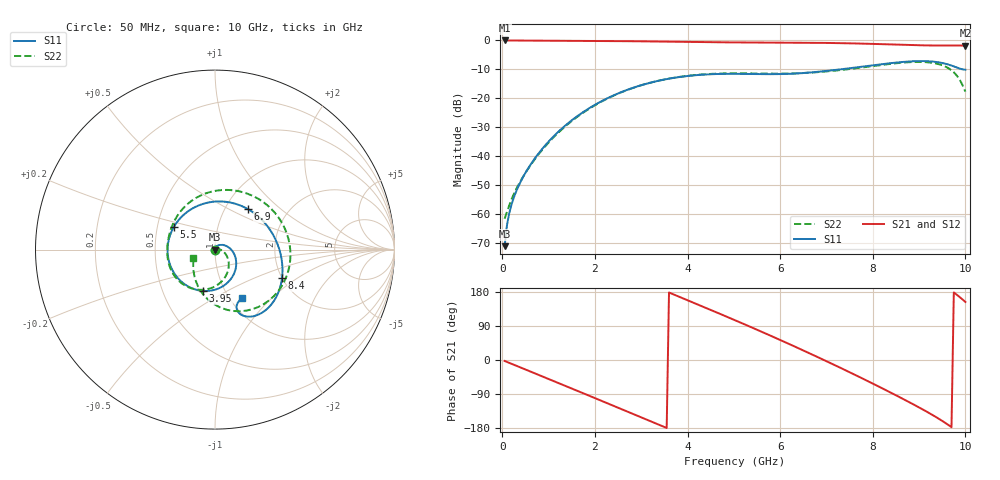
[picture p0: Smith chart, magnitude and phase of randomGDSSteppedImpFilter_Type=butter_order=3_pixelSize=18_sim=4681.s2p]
! freq	dB(S11)	phase(S11)	dB(S12)	phase(S12)
!  dB(S21)	phase(S21)	dB(S22)	phase(S22)
!S-par simulation data
#  GHz  S  DB  R 50
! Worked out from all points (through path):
!   200 points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, 50 MHz to 10 GHz, reference 50 ohm
!   highest |S21| = 0.00 dB at 50 MHz (marker M1); lowest = -1.9 dB at 10 GHz (marker M2)
!   group delay of S21, straight-line fit = 151 ps
!   lowest |S11| = -71.2 dB at 50 MHz (marker M3), VSWR 1.00, Z = 50 + j0.00622 ohm
!   |S11| at or under -10 dB: start of sweep to 7.304 GHz; 9.937 GHz to end of sweep
!   |S22| runs from -61.7 to -7.4 dB; largest |S21 - S12| = 0
!   S11 on the Smith chart (normalised r, x): 50 MHz: 1.00, +0.00; 3.95 GHz: 0.79, -0.39; 5.5 GHz: 0.61, +0.16; 6.9 GHz: 1.28, +0.63; 8.4 GHz: 2.00, -0.76; 10 GHz: 1.14, -0.69
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0.05  -71.21 13.1  -0.00 -2.5  -0.00 -2.5  -61.74 31.4
0.1  -64.05 43.0  -0.01 -5.1  -0.01 -5.1  -59.43 41.2
0.2  -56.73 71.5  -0.02 -10.1  -0.02 -10.1  -55.01 48.2
0.5  -45.83 88.6  -0.03 -25.1  -0.03 -25.1  -45.82 37.2
1.15  -32.52 60.6  -0.07 -57.6  -0.07 -57.6  -32.85 6.4
1.75  -24.76 24.6  -0.11 -87.9  -0.11 -87.9  -24.96 -18.5
2.5  -18.34 -20.4  -0.21 -125.9  -0.21 -125.9  -18.41 -50.3
3.4  -13.86 -73.5  -0.40 -171.7  -0.40 -171.7  -13.84 -89.1
3.95  -12.40 -106.3  -0.53 160.3  -0.53 160.3  -12.34 -112.2
4.55  -11.66 -143.4  -0.63 129.6  -0.63 129.6  -11.54 -136.3
5.05  -11.55 -176.5  -0.68 103.7  -0.68 103.7  -11.38 -155.2
5.5  -11.64 151.5  -0.70 79.9  -0.70 79.9  -11.45 -171.3
6.05  -11.62 110.4  -0.72 50.2  -0.72 50.2  -11.50 169.3
6.7  -11.02 63.5  -0.80 13.9  -0.80 13.9  -11.10 142.6
6.9  -10.72 50.5  -0.84 2.6  -0.84 2.6  -10.86 132.7
7.55  -9.52 14.3  -1.01 -35.2  -1.01 -35.2  -9.80 93.1
8.35  -7.92 -21.0  -1.36 -83.7  -1.36 -83.7  -8.17 32.7
8.4  -7.83 -23.1  -1.39 -86.8  -1.39 -86.8  -8.07 28.6
8.95  -7.16 -45.4  -1.66 -121.9  -1.66 -121.9  -7.43 -16.7
9.45  -7.64 -64.2  -1.74 -156.9  -1.74 -156.9  -8.33 -62.3
9.8  -9.28 -69.5  -1.71 173.6  -1.71 173.6  -11.89 -106.0
10  -10.13 -60.9  -1.86 153.1  -1.86 153.1  -17.73 -157.9
